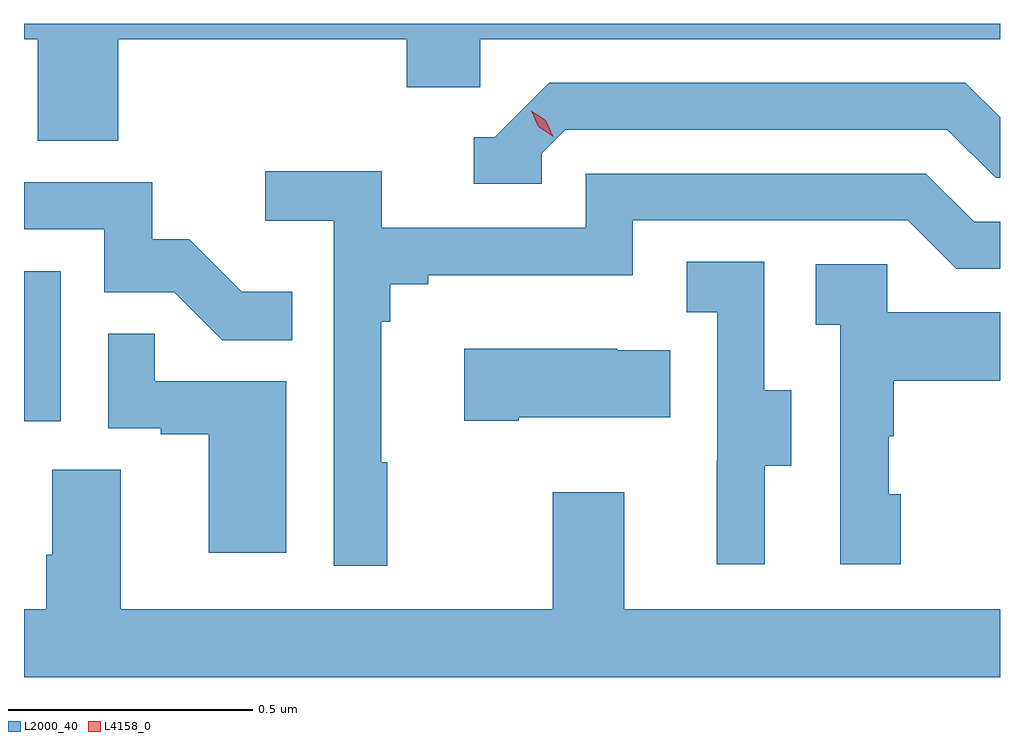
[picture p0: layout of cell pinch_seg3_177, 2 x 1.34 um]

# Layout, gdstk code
import gdstk
lib = gdstk.Library(unit=1e-6, precision=1e-09)
def R(c, l, rs):  # rectangles x0, y0, x1, y1
    for r in rs: c.add(gdstk.rectangle(r[:2], r[2:], *l))
def P(c, l, *ps):  # polygons
    for p in ps: c.add(gdstk.Polygon(p, *l))
L2000_40 = (2000, 40)
L4158_0 = (4158, 0)

pinch_seg3_177 = lib.new_cell('pinch_seg3_177')
R(pinch_seg3_177, L2000_40, [(1001.683,748.086,1001.758,748.393)])
P(pinch_seg3_177, L2000_40, [(1001.876,748.868),(1002.467,748.868),(1002.467,748.77),(1002.618,748.77),(1002.618,748.868),(1003.683,748.868),(1003.683,748.9),(1001.683,748.9),(1001.683,748.868),(1001.711,748.868),(1001.711,748.66),(1001.876,748.66)],
  [(1002.744,748.635),(1002.792,748.683),(1003.575,748.683),(1003.674,748.584),(1003.683,748.584),(1003.683,748.708),(1003.612,748.779),(1002.759,748.779),(1002.648,748.668),(1002.605,748.668),(1002.605,748.572),(1002.744,748.572)],
  [(1002.427,748.001),(1002.415,748.001),(1002.415,748.289),(1002.434,748.289),(1002.434,748.366),(1002.511,748.366),(1002.511,748.385),(1002.93,748.385),(1002.93,748.497),(1003.494,748.497),(1003.593,748.398),(1003.683,748.398),(1003.683,748.494),(1003.63,748.494),(1003.531,748.593),(1002.834,748.593),(1002.834,748.482),(1002.416,748.482),(1002.416,748.598),(1002.177,748.598),(1002.177,748.496),(1002.318,748.496),(1002.318,747.789),(1002.427,747.789)],
  [(1002.233,748.351),(1002.129,748.351),(1002.022,748.458),(1001.946,748.458),(1001.946,748.575),(1001.683,748.575),(1001.683,748.479),(1001.847,748.479),(1001.847,748.35),(1001.991,748.35),(1002.089,748.252),(1002.233,748.252)],
  [(1003.201,747.994),(1003.255,747.994),(1003.255,748.149),(1003.2,748.149),(1003.2,748.412),(1003.041,748.412),(1003.041,748.309),(1003.104,748.309),(1003.104,748.005),(1003.103,748.005),(1003.103,747.792),(1003.201,747.792)],
  [(1003.48,747.936),(1003.455,747.936),(1003.455,748.055),(1003.465,748.055),(1003.465,748.169),(1003.683,748.169),(1003.683,748.309),(1003.452,748.309),(1003.452,748.407),(1003.305,748.407),(1003.305,748.283),(1003.356,748.283),(1003.356,747.792),(1003.48,747.792)],
  [(1002.22,748.167),(1001.951,748.167),(1001.951,748.265),(1001.856,748.265),(1001.856,748.071),(1001.963,748.071),(1001.963,748.059),(1002.062,748.059),(1002.062,747.816),(1002.22,747.816)],
  [(1002.697,748.094),(1003.007,748.094),(1003.007,748.231),(1002.899,748.231),(1002.899,748.234),(1002.585,748.234),(1002.585,748.087),(1002.697,748.087)],
  [(1003.683,747.7),(1002.913,747.7),(1002.913,747.94),(1002.766,747.94),(1002.766,747.7),(1001.881,747.7),(1001.881,747.986),(1001.741,747.986),(1001.741,747.812),(1001.729,747.812),(1001.729,747.7),(1001.683,747.7),(1001.683,747.561),(1003.683,747.561)])
P(pinch_seg3_177, L4158_0, [(1002.768,748.669),(1002.737,748.689),(1002.722,748.722),(1002.722,748.722),(1002.722,748.722),(1002.752,748.702),(1002.768,748.669),(1002.768,748.669)])

lib.write_gds('pinch_seg3_177.gds')
